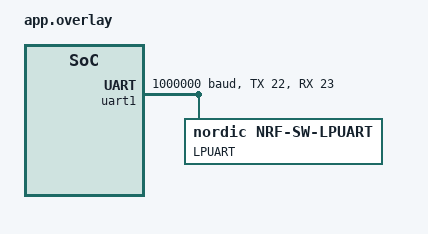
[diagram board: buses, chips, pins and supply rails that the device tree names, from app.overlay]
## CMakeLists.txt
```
#
# Copyright (c) 2018 Nordic Semiconductor
#
# SPDX-License-Identifier: LicenseRef-BSD-5-Clause-Nordic
#

cmake_minimum_required(VERSION 3.13.1)

# This sample runs as a non-secure application on nRF91. Therefore, it
# requires the secure_partition_manager that prepares the required
# peripherals to be available for the application.
#
# Configure the SPM image to enable the peripherals that this sample
# needs.
set(spm_CONF_FILE
  prj.conf
  ${CMAKE_CURRENT_LIST_DIR}/child_secure_partition_manager.conf
  )

#(db) commented out this line used to build in nordic SDK
#(port to Ardesco)find_package(Zephyr REQUIRED HINTS $ENV{ZEPHYR_BASE})

#(db) Include Ardesco SDK 
set(AR $ENV{ARDESCO_ROOT})
if(DEFINED AR)
   include($ENV{ARDESCO_ROOT}/ardesco.cmake)
else()
   # Assume we are building from the apps folder in Ardesco tree
   include(${CMAKE_CURRENT_SOURCE_DIR}/../../ardesco.cmake)
endif()

project(bluetooth_beacon_scan)

# NORDIC SDK APP START
target_sources(app PRIVATE src/main.c)
# NORDIC SDK APP END
zephyr_include_directories(src)

target_sources(app PRIVATE src/ble.c)
#(db) Added line below for 52840 reset code
target_sources(app PRIVATE src/nrf52840_reset.c)
```

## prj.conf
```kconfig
#
# Copyright (c) 2019 Nordic Semiconductor ASA
#
# SPDX-License-Identifier: LicenseRef-BSD-5-Clause-Nordic
#
# General config
CONFIG_NEWLIB_LIBC=y
CONFIG_ASSERT=y
CONFIG_REBOOT=y

# Network
CONFIG_NETWORKING=y
CONFIG_NET_NATIVE=n
CONFIG_NET_SOCKETS=y
CONFIG_NET_SOCKETS_OFFLOAD=y

# BSD library
CONFIG_NEWLIB_LIBC=y
CONFIG_NEWLIB_LIBC_FLOAT_PRINTF=y

# Console 
CONFIG_CONSOLE_SUBSYS=y
CONFIG_CONSOLE_GETCHAR=y

# Enable Bluetooth stack and libraries
CONFIG_BT=y
CONFIG_BT_H4=y
CONFIG_BT_WAIT_NOP=y
CONFIG_BT_CENTRAL=y
CONFIG_BT_GATT_CLIENT=y
CONFIG_BT_GATT_DM=y
CONFIG_BT_SCAN=y
CONFIG_BT_SCAN_FILTER_ENABLE=y
CONFIG_BT_SCAN_UUID_CNT=1

#Added to prove comms between 91 and 52
CONFIG_BT_DEBUG_LOG=y
#CONFIG_BT_DEBUG_HCI_CORE=y (db) This one shows detailed coms but inpacts perf.

#Serial stuff
CONFIG_UART_INTERRUPT_DRIVEN=y

#Nordic low power serial driver 
CONFIG_NRF_SW_LPUART=y
CONFIG_NRF_SW_LPUART_INT_DRIVEN=y
CONFIG_UART_1_ASYNC=y
CONFIG_UART_1_INTERRUPT_DRIVEN=n
CONFIG_UART_1_NRF_HW_ASYNC=y
CONFIG_UART_1_NRF_HW_ASYNC_TIMER=2

# Heap and stacks
CONFIG_HEAP_MEM_POOL_SIZE=16384
CONFIG_MAIN_STACK_SIZE=8192
```

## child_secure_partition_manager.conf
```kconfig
#
# Copyright (c) 2019 Nordic Semiconductor ASA
#
# SPDX-License-Identifier: LicenseRef-BSD-5-Clause-Nordic
#
# Set UARTE2 as non-secure, used for HCI
CONFIG_SPM_NRF_UARTE2_NS=y

## Disable serial and UART interface.
CONFIG_SERIAL=n
CONFIG_UART_CONSOLE=n
```

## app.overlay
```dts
/* SPDX-License-Identifier: Apache-2.0 */

/* This tells the bluetooth driver code to */
/* use the lpuart driver as it's communication. */
/ {
	chosen {
		zephyr,bt-uart=&lpuart;
	};
};

/* Disable cts and rts */
/* App uses the rts-pin (cts on 52840) for */
/* 52840 reset control.*/
&uart0 {
	/delete-property/ rts-pin;
	/delete-property/ cts-pin;
};

/* redirect debug/console out the Grove Connector */
/* DISABLED. Kept in here bc handy when debugging 
&uart0 {
	current-speed = <115200>;
	status = "okay";
	tx-pin = <13>;
	rx-pin = <14>;
	/delete-property/ rts-pin;
	/delete-property/ cts-pin;
};
*/

/* Nordic Low Power UART driver for comms to 52840 */
/* Mapped to MCU 4-7 */
&uart1 {
	current-speed = <1000000>;
	status = "okay";
	tx-pin = <22>;
	rx-pin = <23>;
	/delete-property/ rts-pin;
	/delete-property/ cts-pin;
	/delete-property/ hw-flow-control;

	lpuart: nrf-sw-lpuart {
		compatible = "nordic,nrf-sw-lpuart";
		status = "okay";
		label = "LPUART";
		req-pin = <24>;
		rdy-pin = <25>;
	};
};

/* Required to use Nordic Low Power UART driver */
&gpiote {
	interrupts = <49 NRF_DEFAULT_IRQ_PRIORITY>;
};
```

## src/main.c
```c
/*
 * Copyright (c) Ericsson AB 2021, all rights reserved
 */

#include <ardesco.h>
#include <stdio.h>
#include <string.h>
#include <console/console.h>

#include "ble.h"

static struct tagdata tags[MAX_DEVS];
static int tag_cnt = 0;

struct bt_mfgrs {
	uint16_t id;
	const char *name;
};

// Very brief list of Bluetooth manufacturers.
struct bt_mfgrs mfg_list[] = {
	{0,     "Ericsson "},
	{6,     "Microsoft"},
	{76,    "Apple    "},
	{89,    "Nordic   "},
	{1177,  "Ruuvi    "},
};

/*
 * dump_bt_tag - Prints out the tag info.
 */
void dump_bt_tag (struct tagdata tag)
{
	int i;
	bool found = false;
	// The first 2 bytes of manufacturing data contain the manufacturer's ID
	uint16_t mfgr = *(uint16_t *)&tag.data[0];
	printk ("tag: ");
	prt_bt_addr (tag.addr);
	printk ("  sig: %d  mfgr ", tag.dbSig);
	
	// Look up the name of the manufacturer in the table.
	for (i = 0; i < _COUNTOF(mfg_list); i++)
	{
		if (mfg_list[i].id == mfgr)
		{
			printk ("%s ", mfg_list[i].name);
			found = true;
			break;
		}
	}
	if (!found)
		printk ("ID %5d  ", mfgr);

	printk ("data: ");
	dump_hex (tag.data, tag.data_len);
}

/*
 * main - Program entry point.
 */
void main(void)
{
	int i;
	printk("Ardesco Bluetooth Scan sample started\n");

	// Initialize the bluetooth library.
	ble_init();

	// Wait a bit for first scans to return.
	k_sleep(K_SECONDS(2));

	// Print out becon info every 10 seconds.
	while (true) {
		// Get the list of tags.
		GetTagList (tags, &tag_cnt, MAX_DEVS);

		// Print out the info.
		for (i = 0; i < tag_cnt; i++)
		{
			dump_bt_tag(tags[i]);
		}

		// Sleep for 10 seconds.
		printk ("Sleeping...\n");
		k_sleep(K_SECONDS(10));
	}
}
```

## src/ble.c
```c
/*
 * Copyright (c) Ericsson AB 2021, all rights reserved
 */

#include <ardesco.h>
#include <bluetooth/bluetooth.h>
#include "ble.h"

#include <sys/byteorder.h>

struct bt_mfg_data_struct {
  unsigned char *pDat;
  int max;
  int len;
 };

// List of tags found.
int nTagCnt;
struct tagdata Tags[MAX_DEVS];

/*
 * prt_bt_addr - Trivial helper routine.
 */
void prt_bt_addr (bt_addr_le_t addr)
{
    int i;
    for (i = 0; i < sizeof (addr.a.val); i++)
    {
        printk ("%02x", addr.a.val[i]);
    }
}

/*
 * dump_hex - Trivial helper routine.
 */
void dump_hex (const uint8_t *dat, int len)
{
  int i;
  unsigned char c;

  for (i = 0; i < len; i++)
  {
    c = (unsigned char)dat[i];
    printk ("%02x ", c);
  }
  printk("\n");
}

 /*
  * adv_data_found - Callback from bt_data_parse function.
  * We're only looking for the mfg data callback, but others
  * left in for visibility.
  */
static bool adv_data_found(struct bt_data *data, void *user_data)
{
	struct bt_mfg_data_struct *mfgdat =
			(struct bt_mfg_data_struct *)user_data;
        int len;

	switch (data->type) {
	case BT_DATA_NAME_COMPLETE:
           //printk ("BT_DATA_NAME_COMPLETE\n");
		break;

	case BT_DATA_NAME_SHORTENED:
           //printk ("BT_DATA_NAME_SHORTENED\n");
		break;

	case BT_DATA_GAP_APPEARANCE:
           //printk ("BT_DATA_GAP_APPEARANCE\n");
		break;

	case BT_DATA_UUID16_SOME:
           //printk ("BT_DATA_UUID16_SOME\n");
		break;
	case BT_DATA_UUID16_ALL:
           //printk ("BT_DATA_UUID16_ALL\n");
		break;

	case BT_DATA_UUID32_SOME:
           //printk ("BT_DATA_UUID32_SOME\n");
		break;
	case BT_DATA_UUID32_ALL:
           //printk ("BT_DATA_UUID32_ALL\n");
		break;

	case BT_DATA_UUID128_SOME:
           //printk ("BT_DATA_UUID128_SOME\n");
		break;
	case BT_DATA_UUID128_ALL:
           //printk ("BT_DATA_UUID128_ALL\n");
		break;

	case BT_DATA_MANUFACTURER_DATA:
            //printk ("BT_DATA_MANUFACTURER_DATA: ");

            len = data->data_len;
            if (len > mfgdat->max)
              len = mfgdat->max;
            memcpy (mfgdat->pDat, ((struct bt_data *)data)->data, len);
            mfgdat->len = len;
		break;

	default:
		break;
	}

	return true;
}

/*
 * scan_cb. Called when the BT scanner recvs a beacon.
 */
static void scan_cb(const bt_addr_le_t *addr, int8_t rssi, 
                    uint8_t adv_type, struct net_buf_simple *buf)
{
    int i;
    bool fnd = false;
    unsigned char dat[128];
    struct bt_mfg_data_struct mfgdat = {&dat[0], sizeof (dat), 0};

    // Parse the payload data. Get Mfg bytes
    bt_data_parse(buf, adv_data_found, &mfgdat);

    // If no mfg data, forget it.
    if (mfgdat.len < 3)
        return;

    for (i = 0; i < nTagCnt; i++)
    {
        if (memcmp (&Tags[i].addr, (char *)addr, sizeof (bt_addr_le_t)) == 0)
        {
            fnd = true;
            break;
        }
    }
    // If found, update. If not, add. i == found index or first free index
    if (i < MAX_DEVS)
    {
        Tags[i].dbSig = rssi;
        //time (&Tags[i].LastRcv);
        Tags[i].LastRcv = k_uptime_get();
        memcpy (Tags[i].data, mfgdat.pDat, mfgdat.len);
        Tags[i].data_len = mfgdat.len;
        if (!fnd)
        {
            // Copy the bt addr. 
            memcpy (&Tags[i].addr, addr, sizeof (bt_addr_le_t));
            nTagCnt++;
        }
    }
}

/*
 * GetTagList - Retuns a copy of the current list of tags.
 */
int GetTagList (struct tagdata *tl, int *tag_cnt, int max)
{
    int i;
    *tag_cnt = 0;
    for (i = 0; (i < nTagCnt) && (i < max); i++)
    {
        tl[i] = Tags[i];
        (*tag_cnt)++;
    }
    return 0;
}

/*
 * ble_ready - Callback after bluetooth lib initialized.
 */
static void ble_ready (int err)
{
	printk("Bluetooth ready\n");

	//err = bt_le_scan_start(scan_param, scan_cb);
	err = bt_le_scan_start(BT_LE_SCAN_PASSIVE, scan_cb);
	if (err) {
		printk("Starting scanning failed (err %d)\n", err);
		return;
	}
}

/*
 * ble_init - Initialize the bluetooth library. When initialized,
 * the ble_ready callback starts the scan.
 */
void ble_init(void)
{
	int err;

	printk("Initializing Bluetooth..\n");
	err = bt_enable(ble_ready);
	if (err) {
		printk("Bluetooth init failed (err %d)\n", err);
		return;
	}
}
```

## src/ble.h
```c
/*
 * Copyright (c) Ericsson AB 2021, all rights reserved
 */

#ifndef _BLE_H_
#define _BLE_H_

#include <bluetooth/gatt.h>
#include <bluetooth/uuid.h>
#include <bluetooth/gatt_dm.h>
#include <bluetooth/scan.h>

#define MAX_DEVS  100
#define MAX_DATA  48

struct tagdata {
  bt_addr_le_t addr;
  int dbSig;
  unsigned char data[MAX_DATA];
  int data_len;
  time_t LastRcv;
};

void ble_init(void);

void BtAddrToString (bt_addr_le_t *addr, char *pstr, int nstrlen);

void dump_hex (const uint8_t *dat, int len);
void prt_bt_addr (bt_addr_le_t addr);

int GetTagList (struct tagdata *tl, int *tag_cnt, int max);
#endif /* _BLE_H_ */
```

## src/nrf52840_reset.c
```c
/*
 * Copyright (c) 2019 Nordic Semiconductor ASA.
 * Copyright (c) Ericsson AB 2021, all rights reserved
 *
 * SPDX-License-Identifier: Apache-2.0
 */
// Including Ardesco.h to get the MCU pin assignments.
#include <ardesco.h>

#include <drivers/gpio.h>
#include <drivers/uart.h>
#include <device.h>

//(db) #define RESET_PIN CONFIG_BOARD_NRF52840_GPIO_RESET_PIN
//(db) Hard coding the reset pin to the 52840 to MCU_2 (pin p0.19)
#define RESET_PIN 19

/*
 * bt_hci_transport_setup - This routine is called
 * from the bluetooth driver during driver init.
 * It's used to toggle the GPIO that resets the
 * 52840. The reset syncs the uart comms between
 * the two chips.
 */
int bt_hci_transport_setup(const struct device *h4)
{
	int err;
	char c;
	const struct device *port;

	// Get the GPIO driver.
	port = device_get_binding(DT_LABEL(DT_NODELABEL(gpio0)));
	if (!port) {
		return -EIO;
	}

	/* Configure pin as output and initialize it to low. */
	err = gpio_pin_configure(port, RESET_PIN, GPIO_OUTPUT_LOW);
	if (err) {
		return err;
	}

	/* Reset the nRF52840 and let it wait until the pin is
	 * pulled low again before running to main to ensure
	 * that it won't send any data until the H4 device
	 * is setup and ready to receive.
	 */
	err = gpio_pin_set(port, RESET_PIN, 1);
	if (err) {
		return err;
	}

	/* Wait for the nRF52840 peripheral to stop sending data.
	 *
	 * It is critical (!) to wait here, so that all bytes
	 * on the lines are received and drained correctly.
	 */
	k_sleep(K_MSEC(25));

	/* Drain bytes */
	while (uart_fifo_read(h4, &c, 1)) {
		continue;
	}

	/* We are ready, let the nRF52840 run to main */
	err = gpio_pin_set(port, RESET_PIN, 0);
	if (err) {
		return err;
	}

	return 0;
}
```
